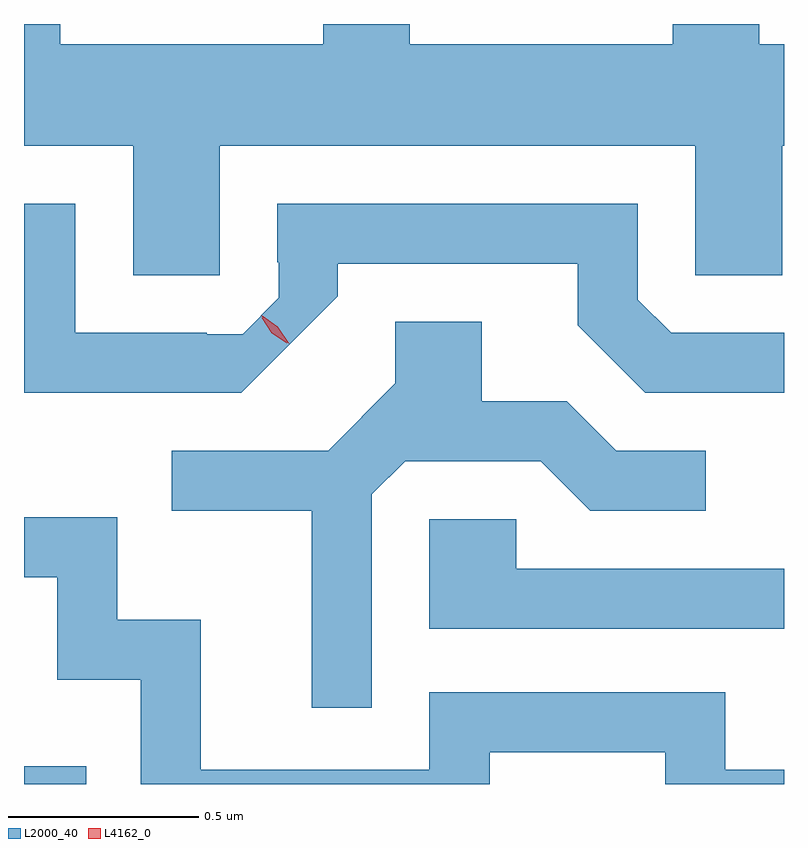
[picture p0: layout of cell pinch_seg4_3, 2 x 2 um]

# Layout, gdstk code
import gdstk
lib = gdstk.Library(unit=1e-6, precision=1e-09)
def R(c, l, rs):  # rectangles x0, y0, x1, y1
    for r in rs: c.add(gdstk.rectangle(r[:2], r[2:], *l))
def P(c, l, *ps):  # polygons
    for p in ps: c.add(gdstk.Polygon(p, *l))
L2000_40 = (2000, 40)
L4162_0 = (4162, 0)

pinch_seg4_3 = lib.new_cell('pinch_seg4_3')
R(pinch_seg4_3, L2000_40, [(1868.734,1321.917,1868.898,1321.964)])
P(pinch_seg4_3, L2000_40, [(1869.249,1323.596),(1870.501,1323.596),(1870.501,1323.256),(1870.729,1323.256),(1870.729,1323.596),(1870.734,1323.596),(1870.734,1323.864),(1870.669,1323.864),(1870.669,1323.917),(1870.441,1323.917),(1870.441,1323.864),(1869.749,1323.864),(1869.749,1323.917),(1869.521,1323.917),(1869.521,1323.864),(1868.829,1323.864),(1868.829,1323.917),(1868.734,1323.917),(1868.734,1323.596),(1869.021,1323.596),(1869.021,1323.256),(1869.249,1323.256)],
  [(1869.559,1323.2),(1869.559,1323.286),(1870.191,1323.286),(1870.191,1323.124),(1870.369,1322.946),(1870.734,1322.946),(1870.734,1323.104),(1870.437,1323.104),(1870.349,1323.192),(1870.349,1323.444),(1869.401,1323.444),(1869.401,1323.29),(1869.405,1323.29),(1869.405,1323.196),(1869.31,1323.1),(1869.215,1323.1),(1869.215,1323.104),(1868.869,1323.104),(1868.869,1323.444),(1868.734,1323.444),(1868.734,1322.946),(1869.306,1322.946)],
  [(1869.649,1322.679),(1869.737,1322.766),(1870.094,1322.766),(1870.224,1322.636),(1870.528,1322.636),(1870.528,1322.794),(1870.292,1322.794),(1870.162,1322.924),(1869.939,1322.924),(1869.939,1323.134),(1869.711,1323.134),(1869.711,1322.972),(1869.534,1322.794),(1869.123,1322.794),(1869.123,1322.636),(1869.491,1322.636),(1869.491,1322.118),(1869.649,1322.118)],
  [(1869.959,1322.001),(1870.421,1322.001),(1870.421,1321.917),(1870.734,1321.917),(1870.734,1321.954),(1870.579,1321.954),(1870.579,1322.159),(1869.801,1322.159),(1869.801,1321.954),(1869.199,1321.954),(1869.199,1322.349),(1868.979,1322.349),(1868.979,1322.619),(1868.734,1322.619),(1868.734,1322.461),(1868.821,1322.461),(1868.821,1322.191),(1869.041,1322.191),(1869.041,1321.917),(1869.959,1321.917)],
  [(1870.734,1322.484),(1870.029,1322.484),(1870.029,1322.614),(1869.801,1322.614),(1869.801,1322.326),(1870.734,1322.326)])
P(pinch_seg4_3, L4162_0, [(1869.432,1323.075),(1869.388,1323.106),(1869.359,1323.149),(1869.359,1323.15),(1869.359,1323.15),(1869.402,1323.12),(1869.432,1323.076),(1869.432,1323.075)],
  [(1869.425,1323.077),(1869.386,1323.103),(1869.36,1323.144),(1869.36,1323.144),(1869.361,1323.144),(1869.4,1323.118),(1869.426,1323.078),(1869.426,1323.077)])

lib.write_gds('pinch_seg4_3.gds')
